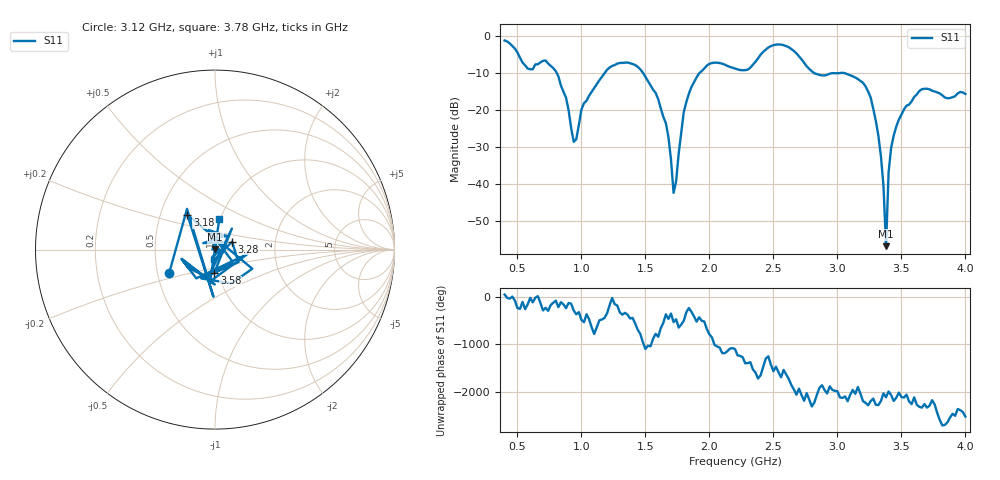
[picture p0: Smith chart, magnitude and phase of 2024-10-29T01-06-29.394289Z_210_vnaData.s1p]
!Created with skrf (http://scikit-rf.org).
# Hz S RI R 50.0
!freq ReS11 ImS11
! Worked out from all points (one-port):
!   181 points, 400 MHz to 4 GHz, reference 50 ohm
!   lowest |S11| = -56.8 dB at 3.38 GHz (marker M1), VSWR 1.00, Z = 50.1 + j0.116 ohm
!   |S11| at or under -10 dB: 807.5 MHz to 1.181 GHz (374 MHz wide, 37.6 % of centre); 1.483 GHz to 1.921 GHz (438.7 MHz wide, 25.8 % of centre); 3.053 GHz to end of sweep (the widest 3 of 4)
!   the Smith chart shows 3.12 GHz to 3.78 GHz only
!   S11 on the Smith chart (normalised r, x): 3.12 GHz: 0.58, -0.16; 3.18 GHz: 0.69, +0.28; 3.28 GHz: 1.20, +0.11; 3.58 GHz: 0.96, -0.26; 3.78 GHz: 0.99, +0.35
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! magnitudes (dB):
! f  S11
! 400 MHz  -1.2
! 580 MHz  -8.8
! 720 MHz  -6.6
! 860 MHz  -15.1
! 940 MHz  -28.6
! 1.02 GHz  -18.1
! 1.3 GHz  -7.3
! 1.58 GHz  -15.4
! 1.68 GHz  -27.3
! 1.72 GHz  -42.3
! 1.76 GHz  -31.7
! 1.8 GHz  -20.5
! 1.92 GHz  -10.0
! 2.2 GHz  -8.8
! 2.66 GHz  -4.0
! 3.1 GHz  -10.6
! 3.12 GHz  -10.9
! 3.18 GHz  -12.1
! 3.28 GHz  -19.6
! 3.34 GHz  -32.4
! 3.36 GHz  -40.5
! 3.38 GHz  -56.8
! 3.4 GHz  -36.8
! 3.42 GHz  -30.1
! 3.56 GHz  -18.5
! 3.58 GHz  -17.6
! 3.78 GHz  -15.2
! 4 GHz  -15.6
